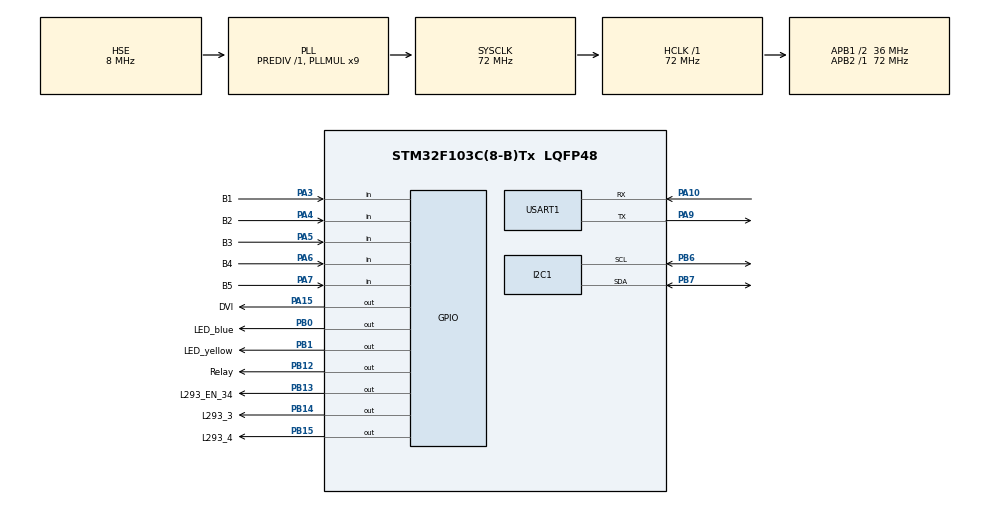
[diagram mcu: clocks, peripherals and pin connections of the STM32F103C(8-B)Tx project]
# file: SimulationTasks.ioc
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Dma.I2C1_RX.0.Direction=DMA_PERIPH_TO_MEMORY
Dma.I2C1_RX.0.Instance=DMA1_Channel7
Dma.I2C1_RX.0.MemDataAlignment=DMA_MDATAALIGN_BYTE
Dma.I2C1_RX.0.MemInc=DMA_MINC_ENABLE
Dma.I2C1_RX.0.Mode=DMA_NORMAL
Dma.I2C1_RX.0.PeriphDataAlignment=DMA_PDATAALIGN_BYTE
Dma.I2C1_RX.0.PeriphInc=DMA_PINC_DISABLE
Dma.I2C1_RX.0.Priority=DMA_PRIORITY_LOW
Dma.I2C1_TX.1.Direction=DMA_MEMORY_TO_PERIPH
Dma.I2C1_TX.1.Instance=DMA1_Channel6
Dma.I2C1_TX.1.MemDataAlignment=DMA_MDATAALIGN_BYTE
Dma.I2C1_TX.1.MemInc=DMA_MINC_ENABLE
Dma.I2C1_TX.1.Mode=DMA_NORMAL
Dma.I2C1_TX.1.PeriphDataAlignment=DMA_PDATAALIGN_BYTE
Dma.I2C1_TX.1.PeriphInc=DMA_PINC_DISABLE
Dma.I2C1_TX.1.Priority=DMA_PRIORITY_LOW
Dma.Request0=I2C1_RX
Dma.Request1=I2C1_TX
Mcu.Family=STM32F1
Mcu.Name=STM32F103C(8-B)Tx
Mcu.Package=LQFP48
NVIC.DMA1_Channel6_IRQn=true\:0\:0\:false\:false\:true\:false\:true\:true
NVIC.DMA1_Channel7_IRQn=true\:0\:0\:false\:false\:true\:false\:true\:true
NVIC.PriorityGroup=NVIC_PRIORITYGROUP_4
NVIC.TIM2_IRQn=true\:0\:0\:false\:false\:true\:true\:true\:true
PA10.Mode=Asynchronous
PA10.Signal=USART1_RX
PA13.Mode=Serial_Wire
PA13.Signal=SYS_JTMS-SWDIO
PA14.Mode=Serial_Wire
PA14.Signal=SYS_JTCK-SWCLK
PA15.GPIO_Label=DVI
PA15.GPIO_ModeDefaultOutputPP=GPIO_MODE_OUTPUT_OD
PA15.GPIO_PuPd=GPIO_NOPULL
PA15.Signal=GPIO_Output
PA3.GPIO_Label=B1
PA3.Signal=GPIO_Input
PA4.GPIO_Label=B2
PA4.Signal=GPIO_Input
PA5.GPIO_Label=B3
PA5.Signal=GPIO_Input
PA6.GPIO_Label=B4
PA6.Signal=GPIO_Input
PA7.GPIO_Label=B5
PA7.Signal=GPIO_Input
PA9.Mode=Asynchronous
PA9.Signal=USART1_TX
PB0.GPIO_Label=LED_blue
PB0.PinState=GPIO_PIN_SET
PB0.Signal=GPIO_Output
PB1.GPIO_Label=LED_yellow
PB1.PinState=GPIO_PIN_SET
PB1.Signal=GPIO_Output
PB12.GPIO_Label=Relay
PB12.Signal=GPIO_Output
PB13.GPIO_Label=L293_EN_34
PB13.Signal=GPIO_Output
PB14.GPIO_Label=L293_3
PB14.Signal=GPIO_Output
PB15.GPIO_Label=L293_4
PB15.Signal=GPIO_Output
PB6.Mode=I2C
PB6.Signal=I2C1_SCL
PB7.Mode=I2C
PB7.Signal=I2C1_SDA
PD0-OSC_IN.Mode=HSE-External-Oscillator
PD0-OSC_IN.Signal=RCC_OSC_IN
PD1-OSC_OUT.Mode=HSE-External-Oscillator
PD1-OSC_OUT.Signal=RCC_OSC_OUT
ProjectManager.HeapSize=0x200
ProjectManager.StackSize=0x400
ProjectManager.TargetToolchain=STM32CubeIDE
RCC.AHBFreq_Value=72000000
RCC.APB1CLKDivider=RCC_HCLK_DIV2
RCC.APB1Freq_Value=36000000
RCC.APB1TimFreq_Value=72000000
RCC.APB2Freq_Value=72000000
RCC.APB2TimFreq_Value=72000000
RCC.HCLKFreq_Value=72000000
RCC.PLLMUL=RCC_PLL_MUL9
RCC.PLLSourceVirtual=RCC_PLLSOURCE_HSE
RCC.SYSCLKFreq_VALUE=72000000
RCC.SYSCLKSource=RCC_SYSCLKSOURCE_PLLCLK
RCC.USBFreq_Value=72000000
TIM2.AutoReloadPreload=TIM_AUTORELOAD_PRELOAD_ENABLE
TIM2.Period=9
TIM2.Prescaler=7199
USART1.VirtualMode=VM_ASYNC
VP_TIM2_VS_ClockSourceINT.Mode=Internal
board=custom

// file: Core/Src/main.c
/* USER CODE BEGIN Header */
/**
	******************************************************************************
	* @file           : main.c
	* @brief          : Main program body
	******************************************************************************
	* @attention
	*
	* Copyright (c) 2023 STMicroelectronics.
	* All rights reserved.
	*
	* This software is licensed under terms that can be found in the LICENSE file
	* in the root directory of this software component.
	* If no LICENSE file comes with this software, it is provided AS-IS.
	*
	******************************************************************************
	*/
	/* USER CODE END Header */
	/* Includes ------------------------------------------------------------------*/
#include "main.h"
#include "dma.h"
#include "i2c.h"
#include "tim.h"
#include "usart.h"
#include "gpio.h"

/* USER CODE BEGIN Includes */
#include "oled.h"
#include "bmp.h"
#include "BH1750.h"
/* USER CODE END Includes */

/* USER CODE BEGIN PV */

uint32_t relay_off_value = 400;
uint32_t relay_on_value = 200;
uint8_t relay_state = 0;
uint8_t relay_refresh_flag = 0;

uint32_t curtain_off_value = 800;
uint32_t curtain_on_value = 100;
uint8_t curtain_state = 0;
uint8_t curtain_refresh_flag = 0;
uint8_t motor_on_flag = 0;
int64_t motor_time = 0;;

uint32_t off_value_cache = 0;
uint32_t on_value_cache = 0;
int8_t bit_value = 0;
int8_t bit_value_hishorty = 0;
uint8_t value_cache_string [] = "00000";

uint8_t test[10];
uint16_t brightness = 0;
uint16_t brightness_buffer = 0;
uint8_t brightness_refresh_flag = 0;
uint8_t LUX_string [] = "LUX:  ";
uint8_t space [] = "  ";
uint8_t Brightness_string [] = "000000";

uint8_t OLED_refresh_flag = 0;
uint8_t OLED_refresh_lock = 0;
uint8_t OLED_content_refresh = 0;

uint16_t timer_value = 0;

uint8_t UI_page = 0;
uint8_t UI_page_change = 1;
int8_t config_page1_pos = 0;
int8_t config_page1_pos_hishorty = 0;
int8_t config_page2_pos = 0;
int8_t config_page2_pos_hishorty = 0;

uint8_t manual = 0;

uint8_t key_scan_flag = 0;
uint8_t key_value_change = 0;
uint16_t key_value_cache = 0;
uint16_t key_value = 0;
uint16_t key_value_history1 = 0;
uint16_t key_value_history2 = 0;
int8_t press_key_value = -1;
uint8_t input_mode = 0;

/* USER CODE END PV */

void SystemClock_Config(void);
/* USER CODE BEGIN PFP */
void Button_Input();
void Trans_Int_to_String(uint32_t intarray, uint8_t* num_string, uint16_t lenght);
void Key_Scan();
/* USER CODE END PFP */

int main(void) {

	/* MCU Configuration--------------------------------------------------------*/

	/* Reset of all peripherals, Initializes the Flash interface and the Systick. */
	HAL_Init();

	/* Configure the system clock */
	SystemClock_Config();

	/* Initialize all configured peripherals */
	MX_GPIO_Init();
	MX_DMA_Init();
	MX_I2C1_Init();
	MX_USART1_UART_Init();
	MX_TIM2_Init();
	/* USER CODE BEGIN 2 */
	reset_DVI;
	HAL_Delay(100);
	set_DVI;
	/* USER CODE END 2 */

	/* Infinite loop */
	/* USER CODE BEGIN WHILE */
	OLED_Init();
	OLED_ColorTurn(0);
	OLED_DisplayTurn(0);

	OLED_Splash_Screens(1000);

	BH1750_Init();

	set_L293_EN_34;
	reset_L293_3;
	reset_L293_4;

	HAL_TIM_Base_Start_IT(&htim2);
	HAL_Delay(200);
	while (1) {
		/* USER CODE END WHILE */

		/* USER CODE BEGIN 3 */
		if (UI_page == 0) {
			if (UI_page_change == 1) {//如果是从其他页面切换来
				UI_page_change = 0;//清零切换标志位
				OLED_Main_interface_Pre_layout();//预布局函数，将UI中不会变化的内容填入缓存
				if (manual == 0) {//如果是自动模式
					OLED_ShowString(80, 0, LUX_string, 16, 1);//显示“LUX：”字符串
				}
				else {//如果是手动模式
					OLED_ShowChinese(80, 0, 28, 16, 1);//显示“手动  ”字符串
					OLED_ShowChinese(96, 0, 29, 16, 1);
					OLED_ShowString(112, 0, space, 16, 1);
				}
			}

			if (brightness_refresh_flag == 1) {
				brightness_refresh_flag = 0;
				brightness = BH1750_GetValue();
				Trans_Int_to_String(brightness, Brightness_string, 6);
				OLED_ShowString(80, 16, Brightness_string, 16, 1);
			}

			if (manual == 0) {
				if (relay_state == 0 && brightness < relay_on_value) {
					set_Relay;
					relay_state = 1;
					OLED_ShowChinese(32, 0, 4, 16, 1);
					OLED_ShowChinese(48, 0, 5, 16, 1);
				}
				if (relay_state != 0 && brightness > relay_off_value) {
					reset_Relay;
					relay_state = 0;
					OLED_ShowChinese(32, 0, 6, 16, 1);
					OLED_ShowChinese(48, 0, 7, 16, 1);
				}
				if (curtain_state == 0 && brightness < curtain_on_value) {
					curtain_state = 1;
					curtain_refresh_flag = 1;
					OLED_ShowChinese(32, 16, 26, 16, 1);
					OLED_ShowChinese(48, 16, 27, 16, 1);
				}
				if (curtain_state != 0 && brightness > curtain_off_value) {
					curtain_state = 0;
					curtain_refresh_flag = 1;
					OLED_ShowChinese(32, 16, 24, 16, 1);
					OLED_ShowChinese(48, 16, 25, 16, 1);
				}
			}

			if (key_value_change != 0) {
				key_value_change = 0;
				switch (press_key_value) {
					case 0:
						break;
					case 1:
						if (manual == 0) {
							manual = 1;
							OLED_ShowChinese(80, 0, 28, 16, 1);
							OLED_ShowChinese(96, 0, 29, 16, 1);
							OLED_ShowString(112, 0, space, 16, 1);
						}
						else {
							manual = 0;
							OLED_ShowString(80, 0, LUX_string, 16, 1);
						}
						break;
					case 2:
						UI_page = 1;
						UI_page_change = 1;
						break;
					case 3:
						if (manual != 0) {
							if (relay_state == 0) {
								set_Relay;
								relay_state = 1;
								OLED_ShowChinese(32, 0, 4, 16, 1);
								OLED_ShowChinese(48, 0, 5, 16, 1);

							}
							else {
								reset_Relay;
								relay_state = 0;
								OLED_ShowChinese(32, 0, 6, 16, 1);
								OLED_ShowChinese(48, 0, 7, 16, 1);
							}
						}
						break;
					case 4:
						if (manual != 0) {
							if (curtain_state == 0) {
								curtain_state = 1;
								curtain_refresh_flag = 1;
								OLED_ShowChinese(32, 16, 26, 16, 1);
								OLED_ShowChinese(48, 16, 27, 16, 1);
							}
							else {
								curtain_state = 0;
								curtain_refresh_flag = 1;
								OLED_ShowChinese(32, 16, 24, 16, 1);
								OLED_ShowChinese(48, 16, 25, 16, 1);

							}
						}
						break;

					default:
						break;
				}
			}
			if (relay_state == 0)
				reset_LED_blue;
			else
				set_LED_blue;
			if (curtain_state == 0)
				set_LED_yellow;
			else
				reset_LED_yellow;
		}
		if (UI_page == 1) {

			if (UI_page_change == 1) {
				UI_page_change = 0;
				OLED_Config_interface1_Pre_layout();
				config_page1_pos = 0;
				config_page2_pos = 0;
			}

			if (key_value_change != 0) {
				key_value_change = 0;
				switch (press_key_value) {
					case 0:
						config_page1_pos--;
						if (config_page1_pos < 0)
							config_page1_pos = 0;
						break;
					case 1:
						switch (config_page1_pos) {
							case 0:
								UI_page = 0;
								UI_page_change = 1;
								break;
							case 1:
								UI_page = 2;
								UI_page_change = 1;
								break;
							case 2:
								UI_page = 2;
								UI_page_change = 1;
								break;

							default:
								break;
						}
						break;
					case 2:
						config_page1_pos++;
						if (config_page1_pos > 2)
							config_page1_pos = 2;
						break;
					default:
						break;
				}

			}

			if (config_page1_pos != config_page1_pos_hishorty) {
				config_page1_pos_hishorty = config_page1_pos;
				switch (config_page1_pos) {
					case 0:
						OLED_ShowChinese(0, 0, 20, 16, 0);
						OLED_ShowChinese(16, 0, 21, 16, 0);
						OLED_ShowChinese(32, 0, 0, 16, 1);
						OLED_ShowChinese(48, 0, 1, 16, 1);
						OLED_ShowChinese(64, 0, 2, 16, 1);
						OLED_ShowChinese(80, 0, 3, 16, 1);
						break;
					case 1:
						Trans_Int_to_String(relay_on_value, value_cache_string, 6);
						OLED_ShowString(16, 16, &(value_cache_string[1]), 16, 1);
						Trans_Int_to_String(relay_off_value, value_cache_string, 6);
						OLED_ShowString(16 + 72, 16, &(value_cache_string[1]), 16, 1);
						OLED_ShowChinese(0, 0, 20, 16, 1);
						OLED_ShowChinese(16, 0, 21, 16, 1);
						OLED_ShowChinese(32, 0, 0, 16, 0);
						OLED_ShowChinese(48, 0, 1, 16, 0);
						OLED_ShowChinese(64, 0, 2, 16, 1);
						OLED_ShowChinese(80, 0, 3, 16, 1);
						OLED_ShowChinese(0, 16, 4, 16, 1);
						OLED_ShowChinese(72, 16, 6, 16, 1);
						break;
					case 2:
						Trans_Int_to_String(curtain_on_value, value_cache_string, 6);
						OLED_ShowString(16, 16, &(value_cache_string[1]), 16, 1);
						Trans_Int_to_String(curtain_off_value, value_cache_string, 6);
						OLED_ShowString(16 + 72, 16, &(value_cache_string[1]), 16, 1);
						OLED_ShowChinese(0, 0, 20, 16, 1);
						OLED_ShowChinese(16, 0, 21, 16, 1);
						OLED_ShowChinese(32, 0, 0, 16, 1);
						OLED_ShowChinese(48, 0, 1, 16, 1);
						OLED_ShowChinese(64, 0, 2, 16, 0);
						OLED_ShowChinese(80, 0, 3, 16, 0);
						OLED_ShowChinese(0, 16, 26, 16, 1);
						OLED_ShowChinese(72, 16, 25, 16, 1);
						break;

					default:
						break;
				}

			}

		}
		if (UI_page >= 2) {

			if (UI_page_change == 1) {
				UI_page_change = 0;
				OLED_Config_interface2_Pre_layout();
				if (config_page1_pos == 1) {
					on_value_cache = relay_on_value;
					off_value_cache = relay_off_value;
				}
				if (config_page1_pos == 2) {
					on_value_cache = curtain_on_value;
					off_value_cache = curtain_off_value;
					OLED_ShowChinese(0, 0, 26, 16, 1);
					OLED_ShowChinese(72, 0, 25, 16, 1);
				}
				config_page2_pos = 0;
				Trans_Int_to_String(on_value_cache, value_cache_string, 5);
				OLED_ShowString(16, 0, value_cache_string, 16, 1);
				Trans_Int_to_String(off_value_cache, value_cache_string, 5);
				OLED_ShowString(88, 0, value_cache_string, 16, 1);
				bit_value = (on_value_cache / 10000) % 10;
				OLED_ShowChar(16, 0, (0x30 + bit_value), 16, 0);
			}

			if (key_value_change != 0) {
				key_value_change = 0;
				if (input_mode == 0) {
					switch (press_key_value) {
						case 0:
							config_page2_pos--;
							if (config_page2_pos < 0)
								config_page2_pos = 11;

							break;
						case 1:
							switch (config_page2_pos) {
								case 0:
									input_mode = 1;
									bit_value = (on_value_cache / 10000) % 10;
									break;
								case 1:
									input_mode = 1;
									bit_value = (on_value_cache / 1000) % 10;
									break;
								case 2:
									input_mode = 1;
									bit_value = (on_value_cache / 100) % 10;
									break;
								case 3:
									input_mode = 1;
									bit_value = (on_value_cache / 10) % 10;
									break;
								case 4:
									input_mode = 1;
									bit_value = (off_value_cache / 1) % 10;
									break;
								case 5:
									input_mode = 1;
									bit_value = (off_value_cache / 10000) % 10;
									break;
								case 6:
									input_mode = 1;
									bit_value = (off_value_cache / 1000) % 10;
									break;
								case 7:
									input_mode = 1;
									bit_value = (off_value_cache / 100) % 10;
									break;
								case 8:
									input_mode = 1;
									bit_value = (off_value_cache / 10) % 10;
									break;
								case 9:
									input_mode = 1;
									bit_value = (off_value_cache / 1) % 10;
									break;
								case 10:
									UI_page = 1;
									UI_page_change = 1;
									break;
								case 11:
									UI_page = 1;
									UI_page_change = 1;
									if (config_page1_pos == 1) {
										relay_on_value = on_value_cache;
										relay_off_value = off_value_cache;
									}
									if (config_page1_pos == 2) {
										curtain_on_value = on_value_cache;
										curtain_off_value = off_value_cache;
									}
									break;
								default:
									break;
							}
							break;
						case 2:
							config_page2_pos++;
							if (config_page2_pos > 11)
								config_page2_pos = 0;
							break;

						default:
							break;
					}
				}
				else {
					switch (press_key_value) {
						case 0:
							bit_value--;
							if (bit_value < 0)
								bit_value = 9;
							break;
						case 1:
							input_mode = 0;
							switch (config_page2_pos) {
								case 0:
									on_value_cache = (on_value_cache % 10000) + bit_value * 10000;
									break;
								case 1:
									on_value_cache = ((on_value_cache / 10000) * 10000) + (on_value_cache % 1000) + bit_value * 1000;
									break;
								case 2:
									on_value_cache = ((on_value_cache / 1000) * 1000) + (on_value_cache % 100) + bit_value * 100;
									break;
								case 3:
									on_value_cache = ((on_value_cache / 100) * 100) + (on_value_cache % 10) + bit_value * 10;
									break;
								case 4:
									on_value_cache = ((on_value_cache / 10) * 10) + bit_value * 1;
									break;
								case 5:
									off_value_cache = (off_value_cache % 10000) + bit_value * 10000;
									break;
								case 6:
									off_value_cache = ((off_value_cache / 10000) * 10000) + (off_value_cache % 1000) + bit_value * 1000;
									break;
								case 7:
									off_value_cache = ((off_value_cache / 1000) * 1000) + (off_value_cache % 100) + bit_value * 100;
									break;
								case 8:
									off_value_cache = ((off_value_cache / 100) * 100) + (off_value_cache % 10) + bit_value * 10;
									break;
								case 9:
									off_value_cache = ((off_value_cache / 10) * 10) + bit_value * 1;
									break;
								default:
									break;
							}
							break;
						case 2:
							bit_value++;
							if (bit_value > 9)
								bit_value = 0;
							break;

						default:
							break;
					}
				}
			}

			if ((config_page2_pos != config_page2_pos_hishorty) || (bit_value != bit_value_hishorty)) {
				config_page2_pos_hishorty = config_page2_pos;
				bit_value_hishorty = bit_value;
				Trans_Int_to_String(on_value_cache, value_cache_string, 5);
				OLED_ShowString(16, 0, value_cache_string, 16, 1);
				Trans_Int_to_String(off_value_cache, value_cache_string, 5);
				OLED_ShowString(88, 0, value_cache_string, 16, 1);
				switch (config_page2_pos) {
					case 0:
						if (input_mode == 0)
							bit_value = (on_value_cache / 10000) % 10;
						OLED_ShowChar(16, 0, (0x30 + bit_value), 16, 0);
						OLED_ShowChinese(80, 16, 22, 16, 1);
						OLED_ShowChinese(96, 16, 23, 16, 1);
						OLED_ShowChinese(16, 16, 20, 16, 1);
						OLED_ShowChinese(32, 16, 21, 16, 1);
						break;
					case 1:
						if (input_mode == 0)
							bit_value = (on_value_cache / 1000) % 10;
						OLED_ShowChar(24, 0, (0x30 + bit_value), 16, 0);
						break;
					case 2:
						if (input_mode == 0)
							bit_value = (on_value_cache / 100) % 10;
						OLED_ShowChar(32, 0, (0x30 + bit_value), 16, 0);
						break;
					case 3:
						if (input_mode == 0)
							bit_value = (on_value_cache / 10) % 10;
						OLED_ShowChar(40, 0, (0x30 + bit_value), 16, 0);
						break;
					case 4:
						if (input_mode == 0)
							bit_value = (on_value_cache / 1) % 10;
						OLED_ShowChar(48, 0, (0x30 + bit_value), 16, 0);
						break;
					case 5:
						if (input_mode == 0)
							bit_value = (off_value_cache / 10000) % 10;
						OLED_ShowChar(88, 0, (0x30 + bit_value), 16, 0);
						break;
					case 6:
						if (input_mode == 0)
							bit_value = (off_value_cache / 1000) % 10;
						OLED_ShowChar(96, 0, (0x30 + bit_value), 16, 0);
						break;
					case 7:
						if (input_mode == 0)
							bit_value = (off_value_cache / 100) % 10;
						OLED_ShowChar(104, 0, (0x30 + bit_value), 16, 0);
						break;
					case 8:
						if (input_mode == 0)
							bit_value = (off_value_cache / 10) % 10;
						OLED_ShowChar(112, 0, (0x30 + bit_value), 16, 0);
						break;
					case 9:
						if (input_mode == 0)
							bit_value = (off_value_cache / 1) % 10;
						OLED_ShowChar(120, 0, (0x30 + bit_value), 16, 0);
						OLED_ShowChinese(80, 16, 22, 16, 1);
						OLED_ShowChinese(96, 16, 23, 16, 1);
						OLED_ShowChinese(16, 16, 20, 16, 1);
						OLED_ShowChinese(32, 16, 21, 16, 1);
						break;
					case 10:
						OLED_ShowChinese(16, 16, 20, 16, 0);
						OLED_ShowChinese(32, 16, 21, 16, 0);
						OLED_ShowChinese(80, 16, 22, 16, 1);
						OLED_ShowChinese(96, 16, 23, 16, 1);
						break;
					case 11:
						OLED_ShowChinese(16, 16, 20, 16, 1);
						OLED_ShowChinese(32, 16, 21, 16, 1);
						OLED_ShowChinese(80, 16, 22, 16, 0);
						OLED_ShowChinese(96, 16, 23, 16, 0);
						break;

					default:
						break;
				}
			}
		}

		if (curtain_refresh_flag != 0) {//监测窗帘的标志变量
			curtain_refresh_flag = 0;//清除标志变量
			if (curtain_state == 0) {//如果是0状态
				set_L293_EN_34;//使能L293芯片
				set_L293_3;//设定L293的3通道为高电平
				reset_L293_4;//设定L293的4通道为低电平
			}
			else {//如果是其他状态
				set_L293_EN_34;//使能L293芯片
				reset_L293_3;//设定L293的3通道为低电平
				set_L293_4;//设定L293的4通道为高电平
			}
			motor_on_flag = 1;//设定电机开启标志位
			motor_time = 3000;//设定电机运转时间为3000ms
		}
		if (motor_on_flag != 0 && motor_time == 0) {//如果电机开启，且运转时间已到0
			motor_on_flag = 0;//清除电机开启标志位
			set_L293_EN_34;//使能L293芯片
			reset_L293_3;//设定L293的3通道为低电平
			reset_L293_4;//设定L293的4通道为低电平
		}

		if (OLED_refresh_flag == 1 && OLED_content_refresh != 0) {
			OLED_refresh_flag = 0;
			OLED_Refresh();
			OLED_content_refresh = 0;
		}

		if (key_scan_flag != 0) {
			key_scan_flag = 0;
			Key_Scan();
		}
	}

}

/* USER CODE END 3 */

void SystemClock_Config(void) {
	RCC_OscInitTypeDef RCC_OscInitStruct = { 0 };
	RCC_ClkInitTypeDef RCC_ClkInitStruct = { 0 };

	/** Initializes the RCC Oscillators according to the specified parameters
	* in the RCC_OscInitTypeDef structure.
	*/
	RCC_OscInitStruct.OscillatorType = RCC_OSCILLATORTYPE_HSE;
	RCC_OscInitStruct.HSEState = RCC_HSE_ON;
	RCC_OscInitStruct.HSEPredivValue = RCC_HSE_PREDIV_DIV1;
	RCC_OscInitStruct.HSIState = RCC_HSI_ON;
	RCC_OscInitStruct.PLL.PLLState = RCC_PLL_ON;
	RCC_OscInitStruct.PLL.PLLSource = RCC_PLLSOURCE_HSE;
	RCC_OscInitStruct.PLL.PLLMUL = RCC_PLL_MUL9;
	if (HAL_RCC_OscConfig(&RCC_OscInitStruct) != HAL_OK) {
		Error_Handler();
	}

	/** Initializes the CPU, AHB and APB buses clocks
	*/
	RCC_ClkInitStruct.ClockType = RCC_CLOCKTYPE_HCLK | RCC_CLOCKTYPE_SYSCLK
		| RCC_CLOCKTYPE_PCLK1 | RCC_CLOCKTYPE_PCLK2;
	RCC_ClkInitStruct.SYSCLKSource = RCC_SYSCLKSOURCE_PLLCLK;
	RCC_ClkInitStruct.AHBCLKDivider = RCC_SYSCLK_DIV1;
	RCC_ClkInitStruct.APB1CLKDivider = RCC_HCLK_DIV2;
	RCC_ClkInitStruct.APB2CLKDivider = RCC_HCLK_DIV1;

	if (HAL_RCC_ClockConfig(&RCC_ClkInitStruct, FLASH_LATENCY_2) != HAL_OK) {
		Error_Handler();
	}
}

/* USER CODE BEGIN 4 */

void Button_Input() {
	input_mode = 1;
	switch (press_key_value) {
		case 0:
			bit_value--;
			if (bit_value < 0)
				bit_value = 9;
			break;
		case 1:
			input_mode = 0;
			switch (config_page2_pos) {
				case 0:
					on_value_cache += bit_value * 10000;
					break;
				case 1:
					on_value_cache += bit_value * 1000;
					break;
				case 2:
					on_value_cache += bit_value * 100;
					break;
				case 3:
					on_value_cache += bit_value * 10;
					break;
				case 4:
					on_value_cache += bit_value;
					break;
				case 5:
					off_value_cache += bit_value * 10000;
					break;
				case 6:
					off_value_cache += bit_value * 1000;
					break;
				case 7:
					off_value_cache += bit_value * 100;
					break;
				case 8:
					off_value_cache += bit_value * 10;
					break;
				case 9:
					off_value_cache += bit_value;
					break;
				default:
					break;
			}
			break;
		case 2:
			bit_value++;
			if (bit_value > 9)
				bit_value = 0;
			break;

		default:
			break;
	}
}

void Trans_Int_to_String(uint32_t intarray, uint8_t* num_string, uint16_t length) {
	uint32_t data;//
	data = intarray;//
	for (int j = (length - 1); j >= 0; j--) {//
		*(num_string + j) = (data % 10) + 0x30;//
		data /= 10;//
	}
	num_string[length] = '\0';//
}

void Key_Scan() {
	key_value = GPIOA->IDR;//
	key_value &= 0xFF;//
	key_value >>= 3;//
	key_value_cache = ((~key_value_history1) & key_value_history2);//
	key_value_cache = (~key_value) & key_value_cache;//
	for (int i = 0; i < 8; i++) {//
		if ((key_value_cache & 0x01) != 0) {//
			press_key_value = i;//
			key_value_change = 1;//
			goto end;//
		}
		key_value_cache >>= 1;//
	}
	press_key_value = -1;//
end:key_value_history2 = key_value_history1;//
	key_value_history1 = key_value;//
}

void HAL_TIM_PeriodElapsedCallback(TIM_HandleTypeDef* htim) {
	if (htim->Instance == TIM2) {//
		timer_value++;//
		if (motor_on_flag != 0 && motor_time != 0) {//
			motor_time--;//
		}
	}
	if (timer_value > 1000)//
		timer_value = 0;//
	if ((timer_value % 10) == 0)//
		key_scan_flag = 1;//
	if ((timer_value % 100) == 0)//
		OLED_refresh_flag = 1;//
	if ((timer_value % 200) == 0)//
		brightness_refresh_flag = 1;//
}

void HAL_I2C_TxCpltCallback(I2C_HandleTypeDef* hi2c) {
	;
}

/* USER CODE END 4 */

void Error_Handler(void) {
	__disable_irq();
	while (1) {
	}
}
